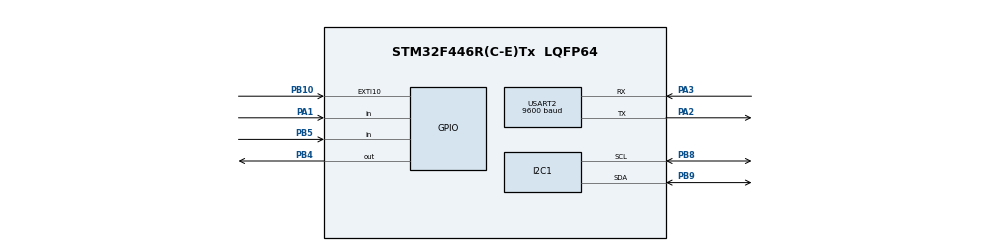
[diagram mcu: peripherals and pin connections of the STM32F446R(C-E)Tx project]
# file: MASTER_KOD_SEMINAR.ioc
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Mcu.Family=STM32F4
Mcu.Name=STM32F446R(C-E)Tx
Mcu.Package=LQFP64
NVIC.EXTI15_10_IRQn=true\:3\:0\:true\:false\:true\:true\:true\:true
NVIC.PriorityGroup=NVIC_PRIORITYGROUP_4
PA1.GPIO_PuPd=GPIO_PULLUP
PA1.Signal=GPIO_Input
PA13.Mode=Serial_Wire
PA13.Signal=SYS_JTMS-SWDIO
PA14.Mode=Serial_Wire
PA14.Signal=SYS_JTCK-SWCLK
PA2.Mode=Asynchronous
PA2.Signal=USART2_TX
PA3.Mode=Asynchronous
PA3.Signal=USART2_RX
PB10.GPIO_ModeDefaultEXTI=GPIO_MODE_IT_FALLING
PB10.GPIO_PuPd=GPIO_PULLUP
PB10.Signal=GPXTI10
PB4.Signal=GPIO_Output
PB5.Signal=GPIO_Input
PB8.Mode=I2C
PB8.Signal=I2C1_SCL
PB9.Mode=I2C
PB9.Signal=I2C1_SDA
ProjectManager.HeapSize=0x200
ProjectManager.StackSize=0x400
ProjectManager.TargetToolchain=STM32CubeIDE
RCC.CortexFreq_Value=16000000
RCC.USBFreq_Value=96000000
RCC.VCOOutputFreq_Value=192000000
USART2.BaudRate=9600
USART2.VirtualMode=VM_ASYNC
VP_TIM1_VS_ClockSourceINT.Mode=Internal
board=custom

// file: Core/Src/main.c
/* USER CODE BEGIN Header */
/**
  ******************************************************************************
  * @file           : main.c
  * @brief          : Main program body
  ******************************************************************************
  * @attention
  *
  * Copyright (c) 2026 STMicroelectronics.
  * All rights reserved.
  *
  * This software is licensed under terms that can be found in the LICENSE file
  * in the root directory of this software component.
  * If no LICENSE file comes with this software, it is provided AS-IS.
  *
  ******************************************************************************
  */
/* USER CODE END Header */
#include "main.h"
#include "i2c.h"
#include "tim.h"
#include "usart.h"
#include "gpio.h"
#include "stm32f4xx_it.h"
#include "stm32f4xx_hal.h"

/* USER CODE BEGIN PV */
#define TRIG_PIN GPIO_PIN_4
#define TRIG_PORT GPIOB
#define ECHO_PIN GPIO_PIN_5
#define ECHO_PORT GPIOB
uint32_t p;
uint32_t v1 = 0;
uint32_t v2 = 0;
uint16_t udaljenost  = 0;
uint16_t udaljenost_inch=0;
/* USER CODE END PV */

void SystemClock_Config(void);

/* USER CODE BEGIN 0 */
uint8_t addr = 0x50;
uint8_t data_out=0;
uint8_t red_flag = 0;
uint8_t ok = 2;
uint8_t ok_state = 2;

/* USER CODE END 0 */

int main(void)
{

  /* MCU Configuration--------------------------------------------------------*/

  /* Reset of all peripherals, Initializes the Flash interface and the Systick. */
  HAL_Init();

  	// Timer6

  /* Configure the system clock */
  SystemClock_Config();

  /* Initialize all configured peripherals */
  MX_GPIO_Init();
  MX_I2C1_Init();
  MX_USART2_UART_Init();
  MX_TIM1_Init();
  /* USER CODE BEGIN 2 */
  HAL_TIM_Base_Start(&htim1);
  /* USER CODE END 2 */

  /* Infinite loop */
  /* USER CODE BEGIN WHILE */
  while (1)
        {
  	  	  	  	  HAL_GPIO_WritePin(TRIG_PORT, TRIG_PIN, GPIO_PIN_SET);
  	  	  	      __HAL_TIM_SET_COUNTER(&htim1, 0);
  	  	  	      while (__HAL_TIM_GET_COUNTER (&htim1) < 10);
  	  	  	      HAL_GPIO_WritePin(TRIG_PORT, TRIG_PIN, GPIO_PIN_RESET);
  	  	  	      p = HAL_GetTick();
  	  	  	      while (!(HAL_GPIO_ReadPin (ECHO_PORT, ECHO_PIN)) && p + 10 >  HAL_GetTick());
  	  	  	      v1 = __HAL_TIM_GET_COUNTER (&htim1);
  	  	  	      p = HAL_GetTick();
  	  	  	      while ((HAL_GPIO_ReadPin (ECHO_PORT, ECHO_PIN)) && p + 50 > HAL_GetTick());
  	  	  	      v2 = __HAL_TIM_GET_COUNTER (&htim1);
  	  	  	      udaljenost = (v2-v1)* 0.034/2;
  	  	  	      udaljenost_inch = udaljenost / 2.54;

      	  if(red_flag==1){
      		if(ok_state==2) ok=1;
      		if(ok_state==1) ok=2;
      		red_flag=0;
      	  }

      	  if(ok==2) data_out = udaljenost;
          if(ok==1) data_out = udaljenost_inch;
          if(ok==2) ok_state=2;
          if(ok==1) ok_state=1;

          data_out=data_out*10+ok;
      	  HAL_I2C_Master_Transmit(&hi2c1, addr<<1, &data_out, sizeof(data_out),100);
      	  HAL_Delay(1);

        }
}

void SystemClock_Config(void)
{
  RCC_OscInitTypeDef RCC_OscInitStruct = {0};
  RCC_ClkInitTypeDef RCC_ClkInitStruct = {0};

  /** Configure the main internal regulator output voltage
  */
  __HAL_RCC_PWR_CLK_ENABLE();
  __HAL_PWR_VOLTAGESCALING_CONFIG(PWR_REGULATOR_VOLTAGE_SCALE3);

  /** Initializes the RCC Oscillators according to the specified parameters
  * in the RCC_OscInitTypeDef structure.
  */
  RCC_OscInitStruct.OscillatorType = RCC_OSCILLATORTYPE_HSI;
  RCC_OscInitStruct.HSIState = RCC_HSI_ON;
  RCC_OscInitStruct.HSICalibrationValue = RCC_HSICALIBRATION_DEFAULT;
  RCC_OscInitStruct.PLL.PLLState = RCC_PLL_NONE;
  if (HAL_RCC_OscConfig(&RCC_OscInitStruct) != HAL_OK)
  {
    Error_Handler();
  }

  /** Initializes the CPU, AHB and APB buses clocks
  */
  RCC_ClkInitStruct.ClockType = RCC_CLOCKTYPE_HCLK|RCC_CLOCKTYPE_SYSCLK
                              |RCC_CLOCKTYPE_PCLK1|RCC_CLOCKTYPE_PCLK2;
  RCC_ClkInitStruct.SYSCLKSource = RCC_SYSCLKSOURCE_HSI;
  RCC_ClkInitStruct.AHBCLKDivider = RCC_SYSCLK_DIV1;
  RCC_ClkInitStruct.APB1CLKDivider = RCC_HCLK_DIV1;
  RCC_ClkInitStruct.APB2CLKDivider = RCC_HCLK_DIV1;

  if (HAL_RCC_ClockConfig(&RCC_ClkInitStruct, FLASH_LATENCY_0) != HAL_OK)
  {
    Error_Handler();
  }
}

/* USER CODE BEGIN 4 */
void HAL_GPIO_EXTI_Callback(uint16_t GPIO_Pin)
	{
		if(GPIO_Pin == GPIO_PIN_10){
			red_flag = 1;
		}

	}
/* USER CODE END 4 */

void Error_Handler(void)
{
  __disable_irq();
  while (1)
  {
  }
}
